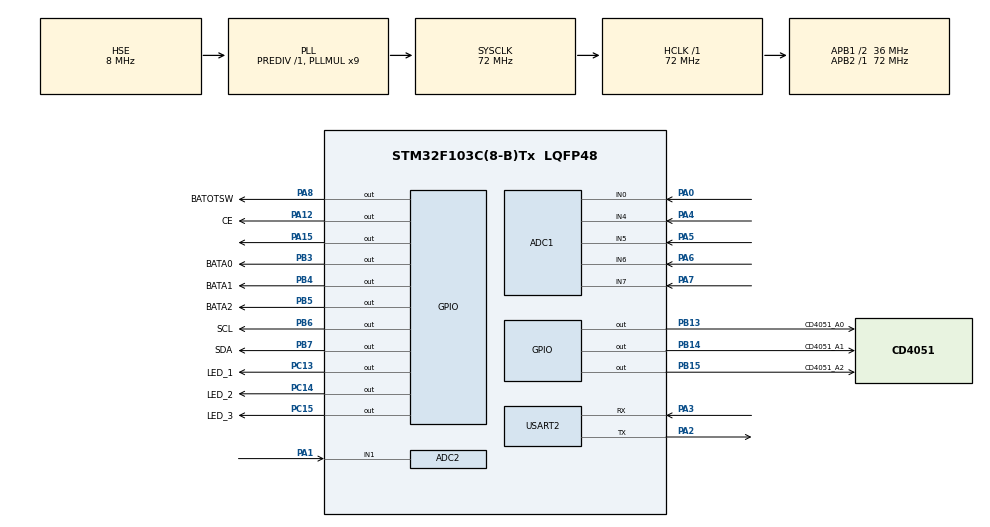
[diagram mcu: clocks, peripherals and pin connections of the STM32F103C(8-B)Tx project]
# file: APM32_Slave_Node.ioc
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ADC1.Channel-1\#ChannelRegularConversion=ADC_CHANNEL_0
ADC1.ContinuousConvMode=DISABLE
ADC1.NbrOfConversionFlag=1
ADC1.Rank-1\#ChannelRegularConversion=1
ADC1.SamplingTime-1\#ChannelRegularConversion=ADC_SAMPLETIME_1CYCLE_5
ADC1.master=1
ADC2.Channel-1\#ChannelRegularConversion=ADC_CHANNEL_1
ADC2.ContinuousConvMode=ENABLE
ADC2.NbrOfConversionFlag=1
ADC2.Rank-1\#ChannelRegularConversion=1
ADC2.SamplingTime-1\#ChannelRegularConversion=ADC_SAMPLETIME_1CYCLE_5
Dma.Request0=USART2_RX
Dma.USART2_RX.0.Direction=DMA_PERIPH_TO_MEMORY
Dma.USART2_RX.0.Instance=DMA1_Channel6
Dma.USART2_RX.0.MemDataAlignment=DMA_MDATAALIGN_BYTE
Dma.USART2_RX.0.MemInc=DMA_MINC_ENABLE
Dma.USART2_RX.0.Mode=DMA_NORMAL
Dma.USART2_RX.0.PeriphDataAlignment=DMA_PDATAALIGN_BYTE
Dma.USART2_RX.0.PeriphInc=DMA_PINC_DISABLE
Dma.USART2_RX.0.Priority=DMA_PRIORITY_LOW
Mcu.Family=STM32F1
Mcu.Name=STM32F103C(8-B)Tx
Mcu.Package=LQFP48
NVIC.DMA1_Channel6_IRQn=true\:0\:0\:false\:false\:true\:false\:true\:true
NVIC.PriorityGroup=NVIC_PRIORITYGROUP_4
NVIC.USART2_IRQn=true\:0\:0\:false\:false\:true\:true\:true\:true
PA0-WKUP.Signal=ADCx_IN0
PA1.Signal=ADCx_IN1
PA12.GPIO_Label=CE
PA12.Signal=GPIO_Output
PA13.Mode=Serial_Wire
PA13.Signal=SYS_JTMS-SWDIO
PA14.Mode=Serial_Wire
PA14.Signal=SYS_JTCK-SWCLK
PA15.Signal=GPIO_Output
PA2.Mode=Asynchronous
PA2.Signal=USART2_TX
PA3.Mode=Asynchronous
PA3.Signal=USART2_RX
PA4.Signal=ADCx_IN4
PA5.Signal=ADCx_IN5
PA6.Signal=ADCx_IN6
PA7.Signal=ADCx_IN7
PA8.GPIO_Label=BATOTSW
PA8.Signal=GPIO_Output
PB13.GPIO_Label=CD4051_A0
PB13.Signal=GPIO_Output
PB14.GPIO_Label=CD4051_A1
PB14.Signal=GPIO_Output
PB15.GPIO_Label=CD4051_A2
PB15.Signal=GPIO_Output
PB3.GPIO_Label=BATA0
PB3.GPIO_PuPd=GPIO_NOPULL
PB3.Signal=GPIO_Output
PB4.GPIO_Label=BATA1
PB4.GPIO_PuPd=GPIO_NOPULL
PB4.Signal=GPIO_Output
PB5.GPIO_Label=BATA2
PB5.GPIO_PuPd=GPIO_NOPULL
PB5.Signal=GPIO_Output
PB6.GPIO_Label=SCL
PB6.GPIO_ModeDefaultOutputPP=GPIO_MODE_OUTPUT_OD
PB6.GPIO_PuPd=GPIO_PULLUP
PB6.Signal=GPIO_Output
PB7.GPIO_Label=SDA
PB7.GPIO_ModeDefaultOutputPP=GPIO_MODE_OUTPUT_OD
PB7.GPIO_PuPd=GPIO_PULLUP
PB7.Signal=GPIO_Output
PC13-TAMPER-RTC.GPIO_Label=LED_1
PC13-TAMPER-RTC.GPIO_PuPd=GPIO_PULLUP
PC13-TAMPER-RTC.Signal=GPIO_Output
PC14-OSC32_IN.GPIO_Label=LED_2
PC14-OSC32_IN.GPIO_PuPd=GPIO_PULLUP
PC14-OSC32_IN.Signal=GPIO_Output
PC15-OSC32_OUT.GPIO_Label=LED_3
PC15-OSC32_OUT.GPIO_PuPd=GPIO_PULLUP
PC15-OSC32_OUT.Signal=GPIO_Output
PD0-OSC_IN.Mode=HSE-External-Oscillator
PD0-OSC_IN.Signal=RCC_OSC_IN
PD1-OSC_OUT.Mode=HSE-External-Oscillator
PD1-OSC_OUT.Signal=RCC_OSC_OUT
ProjectManager.HeapSize=0x200
ProjectManager.StackSize=0x400
ProjectManager.TargetToolchain=MDK-ARM V5.32
RCC.ADCPresc=RCC_ADCPCLK2_DIV6
RCC.AHBFreq_Value=72000000
RCC.APB1CLKDivider=RCC_HCLK_DIV2
RCC.APB1Freq_Value=36000000
RCC.APB1TimFreq_Value=72000000
RCC.APB2Freq_Value=72000000
RCC.APB2TimFreq_Value=72000000
RCC.HCLKFreq_Value=72000000
RCC.PLLMUL=RCC_PLL_MUL9
RCC.PLLSourceVirtual=RCC_PLLSOURCE_HSE
RCC.SYSCLKFreq_VALUE=72000000
RCC.SYSCLKSource=RCC_SYSCLKSOURCE_PLLCLK
RCC.USBFreq_Value=72000000
SH.ADCx_IN0.0=ADC1_IN0,IN0
SH.ADCx_IN1.0=ADC2_IN1,IN1
SH.ADCx_IN4.0=ADC1_IN4,IN4
SH.ADCx_IN5.0=ADC1_IN5,IN5
SH.ADCx_IN6.0=ADC1_IN6,IN6
SH.ADCx_IN7.0=ADC1_IN7,IN7
USART2.VirtualMode=VM_ASYNC
board=custom

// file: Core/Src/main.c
/* USER CODE BEGIN Header */
/**
  ******************************************************************************
  * @file           : main.c
  * @brief          : Main program body
  ******************************************************************************
  * @attention
  *
  * Copyright (c) 2025 STMicroelectronics.
  * All rights reserved.
  *
  * This software is licensed under terms that can be found in the LICENSE file
  * in the root directory of this software component.
  * If no LICENSE file comes with this software, it is provided AS-IS.
  *
  ******************************************************************************
  */
/* USER CODE END Header */
#include "main.h"
#include "adc.h"
#include "dma.h"
#include "usart.h"
#include "gpio.h"

/* USER CODE BEGIN Includes */
#include "usart.h"
#include "rs485.h"
#include "charge_control.h"

/* USER CODE END Includes */

/* USER CODE BEGIN PTD */
extern DMA_HandleTypeDef hdma_usart2_rx;

uint8_t rx_buffer[BUFFER_SIZE] = {0};
uint8_t rx_done = 0;
uint8_t rx_len = 0;
uint16_t Get_ADC(uint8_t adc_channel);
uint16_t Get_ADC1(uint8_t adc_channel);

RS485_Frame_t my_frame;
/* USER CODE END PTD */

void SystemClock_Config(void);

/* USER CODE BEGIN 0 */
uint16_t read_adc_1,read_adc_2,read_adc_4,read_adc_5,read_adc_6,read_adc_7;
uint16_t dac_set,check_count;
float current_set=2,read_current,read_val;
uint8_t Master_order;
/* USER CODE END 0 */

int main(void)
{

  /* MCU Configuration--------------------------------------------------------*/

  /* Reset of all peripherals, Initializes the Flash interface and the Systick. */
  HAL_Init();

  /* Configure the system clock */
  SystemClock_Config();

  /* Initialize all configured peripherals */
  MX_GPIO_Init();
  MX_DMA_Init();
  MX_USART2_UART_Init();
  MX_ADC1_Init();
  MX_ADC2_Init();
  /* USER CODE BEGIN 2 */
	HAL_GPIO_WritePin(GPIOA, GPIO_PIN_15, GPIO_PIN_RESET);

	HAL_UART_Receive_DMA(&huart2, rx_buffer, BUFFER_SIZE);

  __HAL_UART_ENABLE_IT(&huart2, UART_IT_IDLE);
	HAL_GPIO_WritePin(LED_1_GPIO_Port,LED_1_Pin,1);
	//HAL_GPIO_WritePin(LED_2_GPIO_Port,LED_2_Pin,1);//三个绿灯
	HAL_GPIO_WritePin(BATOTSW_GPIO_Port,BATOTSW_Pin,0);
	IIC_GPIO_Config();
	HAL_GPIO_WritePin(BATA0_GPIO_Port,BATA0_Pin,0);
	HAL_GPIO_WritePin(BATA1_GPIO_Port,BATA1_Pin,1);
	HAL_GPIO_WritePin(BATA2_GPIO_Port,BATA2_Pin,0);

	HAL_ADCEx_Calibration_Start(&hadc1);

	dac_set=(uint16_t)(((current_set*0.2f)/3.3f)*4095);
	Disable_Charging();
	HAL_ADCEx_Calibration_Start(&hadc2);

  /* USER CODE END 2 */

  /* Infinite loop */
  while (1)
  {

    /* USER CODE BEGIN 3 */
		RS485_Master_Receive_Process();
		Data_Feedback();//默认一直发送
    MCP4725_WriteData_Digital(dac_set);
		read_adc_1=Get_ADC1(0);//采样电阻0.005哦  放大倍数50倍
//		read_adc_4=Get_ADC1(4);
//		read_adc_5=Get_ADC1(5);
//		read_adc_6=Get_ADC1(6);
//		read_adc_7=Get_ADC1(7);

		read_adc_2=Get_ADC(2);
		read_current =((float)read_adc_1 / 4095.0f) * 3.29f / 0.25f;
		read_val = (float)read_adc_2 / 4095.0f * 3.29f * 10.0f;
		if(read_val<16 && read_val>10)
		{
			check_count++;
			if(check_count>1000)
			{
				Disable_discharging();//停止放电
				check_count=0;
			}
		}
		else
		{
			check_count=0;
		}
		if(read_adc_4==0&& Master_order==0)
		{
			Enable_Charging();
		}
		else
		{
		Disable_Charging();
		}
		HAL_Delay(10);
  }
  /* USER CODE END 3 */
}

void SystemClock_Config(void)
{
  RCC_OscInitTypeDef RCC_OscInitStruct = {0};
  RCC_ClkInitTypeDef RCC_ClkInitStruct = {0};
  RCC_PeriphCLKInitTypeDef PeriphClkInit = {0};

  /** Initializes the RCC Oscillators according to the specified parameters
  * in the RCC_OscInitTypeDef structure.
  */
  RCC_OscInitStruct.OscillatorType = RCC_OSCILLATORTYPE_HSE;
  RCC_OscInitStruct.HSEState = RCC_HSE_ON;
  RCC_OscInitStruct.HSEPredivValue = RCC_HSE_PREDIV_DIV1;
  RCC_OscInitStruct.HSIState = RCC_HSI_ON;
  RCC_OscInitStruct.PLL.PLLState = RCC_PLL_ON;
  RCC_OscInitStruct.PLL.PLLSource = RCC_PLLSOURCE_HSE;
  RCC_OscInitStruct.PLL.PLLMUL = RCC_PLL_MUL9;
  if (HAL_RCC_OscConfig(&RCC_OscInitStruct) != HAL_OK)
  {
    Error_Handler();
  }

  /** Initializes the CPU, AHB and APB buses clocks
  */
  RCC_ClkInitStruct.ClockType = RCC_CLOCKTYPE_HCLK|RCC_CLOCKTYPE_SYSCLK
                              |RCC_CLOCKTYPE_PCLK1|RCC_CLOCKTYPE_PCLK2;
  RCC_ClkInitStruct.SYSCLKSource = RCC_SYSCLKSOURCE_PLLCLK;
  RCC_ClkInitStruct.AHBCLKDivider = RCC_SYSCLK_DIV1;
  RCC_ClkInitStruct.APB1CLKDivider = RCC_HCLK_DIV2;
  RCC_ClkInitStruct.APB2CLKDivider = RCC_HCLK_DIV1;

  if (HAL_RCC_ClockConfig(&RCC_ClkInitStruct, FLASH_LATENCY_2) != HAL_OK)
  {
    Error_Handler();
  }
  PeriphClkInit.PeriphClockSelection = RCC_PERIPHCLK_ADC;
  PeriphClkInit.AdcClockSelection = RCC_ADCPCLK2_DIV6;
  if (HAL_RCCEx_PeriphCLKConfig(&PeriphClkInit) != HAL_OK)
  {
    Error_Handler();
  }
}

/* USER CODE BEGIN 4 */

uint16_t Get_ADC1(uint8_t adc_channel)
{
   	ADC_ChannelConfTypeDef sConfig = {0};
	sConfig.Channel = adc_channel;                                         /* 通道 */
	sConfig.Rank = ADC_REGULAR_RANK_1;
	sConfig.SamplingTime = ADC_SAMPLETIME_55CYCLES_5;                  /* 采样时间 */
	if (HAL_ADC_ConfigChannel(&hadc1, &sConfig) != HAL_OK)
	{
		Error_Handler();
	}
	HAL_ADC_Start(&hadc1);
	HAL_ADC_PollForConversion(&hadc1, HAL_MAX_DELAY);
	return (uint16_t)HAL_ADC_GetValue(&hadc1);
}

uint16_t Get_ADC(uint8_t adc_channel)
{
    uint16_t adc_value = 0;
    ADC_HandleTypeDef *adc_handle = NULL;

    // 根据传入的通道参数选择对应的ADC
    if (adc_channel == 1)
    {
        adc_handle = &hadc1;
    }
    else if (adc_channel == 2)
    {
        adc_handle = &hadc2;
    }
    else
    {
        // 如果传入的通道参数无效，返回0或错误处理
        return 0;
    }

    // 1. 启动ADC转换
    HAL_ADC_Start(adc_handle);

    // 2. 等待转换完成
    if (HAL_ADC_PollForConversion(adc_handle, HAL_MAX_DELAY) == HAL_OK)
    {
        // 3. 获取转换结果
        adc_value = HAL_ADC_GetValue(adc_handle);
    }

    // 4. 停止ADC
    HAL_ADC_Stop(adc_handle);

    return adc_value;
}

void USART2_IRQHandler(void)
{
  /* USER CODE BEGIN USART2_IRQn 0 */
  /* USER CODE END USART2_IRQn 0 */
  /* USER CODE BEGIN USART2_IRQn 1 */

    if (__HAL_UART_GET_FLAG(&huart2, UART_FLAG_IDLE) == SET)
    {
        __HAL_UART_CLEAR_IDLEFLAG(&huart2);
        HAL_UART_DMAStop(&huart2);

        rx_len = BUFFER_SIZE - __HAL_DMA_GET_COUNTER(&hdma_usart2_rx);
        rx_done = 1;

        HAL_UART_Receive_DMA(&huart2, rx_buffer, BUFFER_SIZE);
    }
		  HAL_UART_IRQHandler(&huart2);

  /* USER CODE END USART2_IRQn 1 */
}

/* USER CODE END 4 */

void Error_Handler(void)
{
  __disable_irq();
  while (1)
  {
  }
}
